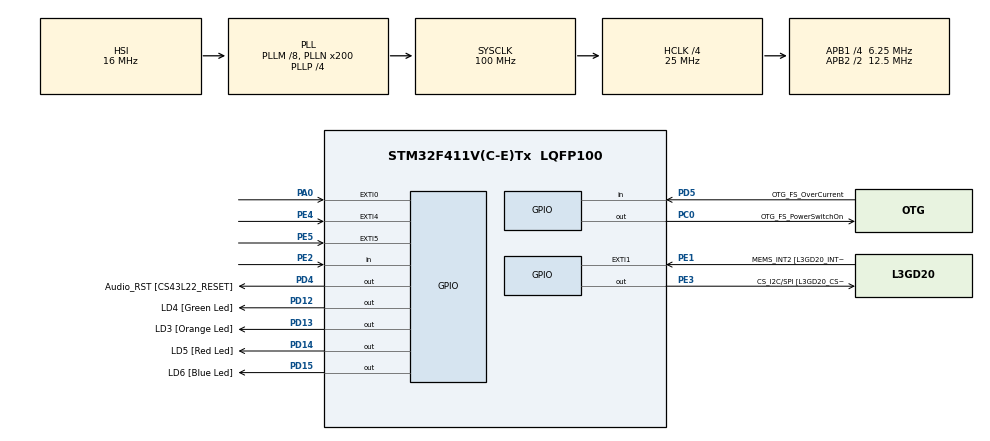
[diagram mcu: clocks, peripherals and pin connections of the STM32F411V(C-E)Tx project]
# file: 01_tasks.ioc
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FREERTOS.Tasks01=defaultTask,0,128,StartDefaultTask,Default,NULL,Dynamic,NULL,NULL
FREERTOS.configENABLE_FPU=1
Mcu.Family=STM32F4
Mcu.Name=STM32F411V(C-E)Tx
Mcu.Package=LQFP100
NVIC.PriorityGroup=NVIC_PRIORITYGROUP_4
NVIC.TIM5_IRQn=true\:15\:0\:false\:false\:true\:false\:false\:true\:true
NVIC.TimeBase=TIM5_IRQn
NVIC.TimeBaseIP=TIM5
PA0-WKUP.GPIO_ModeDefaultEXTI=GPIO_MODE_EVT_RISING
PA0-WKUP.Signal=GPXTI0
PA10.GPIO_Label=OTG_FS_ID
PA10.Signal=USB_OTG_FS_ID
PA11.GPIO_Label=OTG_FS_DM
PA11.Signal=USB_OTG_FS_DM
PA12.GPIO_Label=OTG_FS_DP
PA12.Signal=USB_OTG_FS_DP
PA13.GPIO_Label=SWDIO
PA13.Signal=SYS_JTMS-SWDIO
PA14.GPIO_Label=SWCLK
PA14.Signal=SYS_JTCK-SWCLK
PA4.GPIO_Label=I2S3_WS [CS43L22_LRCK]
PA4.GPIO_Mode=GPIO_MODE_AF_PP
PA4.GPIO_PuPd=GPIO_NOPULL
PA4.GPIO_Speed=GPIO_SPEED_FREQ_LOW
PA4.Signal=I2S3_WS
PA5.GPIO_Label=SPI1_SCK [L3GD20_SC/SPC]
PA5.Signal=SPI1_SCK
PA6.GPIO_Label=SPI1_MISO [L3GD20_AS0/SDO]
PA6.Signal=SPI1_MISO
PA7.GPIO_Label=SPI1_MOSI [L3GD20_SDA/SDI/SDO]
PA7.Signal=SPI1_MOSI
PA9.GPIO_Label=VBUS_FS
PA9.Signal=USB_OTG_FS_VBUS
PB10.GPIO_Label=CLK_IN [MP45DT02_CLK]
PB10.Signal=I2S2_CK
PB12.Signal=I2S2_WS
PB3.GPIO_Label=SWO
PB3.Signal=SYS_JTDO-SWO
PB6.GPIO_Label=Audio_SCL [CS43L22_SCL]
PB6.GPIO_Mode=GPIO_MODE_AF_OD
PB6.GPIO_PuPd=GPIO_NOPULL
PB6.GPIO_Speed=GPIO_SPEED_FREQ_LOW
PB6.Signal=I2C1_SCL
PB9.GPIO_Label=Audio_SDA [CS43L22_SDA]
PB9.GPIO_Mode=GPIO_MODE_AF_OD
PB9.GPIO_PuPd=GPIO_NOPULL
PB9.GPIO_Speed=GPIO_SPEED_FREQ_LOW
PB9.Signal=I2C1_SDA
PC0.GPIO_Label=OTG_FS_PowerSwitchOn
PC0.PinState=GPIO_PIN_SET
PC0.Signal=GPIO_Output
PC10.GPIO_Label=I2S3_SCK [CS43L22_SCLK]
PC10.GPIO_Mode=GPIO_MODE_AF_PP
PC10.GPIO_PuPd=GPIO_NOPULL
PC10.GPIO_Speed=GPIO_SPEED_FREQ_LOW
PC10.Signal=I2S3_CK
PC12.GPIO_Label=I2S3_SD [CS43L22_SDIN]
PC12.GPIO_Mode=GPIO_MODE_AF_PP
PC12.GPIO_PuPd=GPIO_NOPULL
PC12.GPIO_Speed=GPIO_SPEED_FREQ_LOW
PC12.Signal=I2S3_SD
PC14-OSC32_IN.GPIO_Label=PC14-OSC32_IN
PC14-OSC32_IN.Signal=RCC_OSC32_IN
PC15-OSC32_OUT.GPIO_Label=PC15-OSC32_OUT
PC15-OSC32_OUT.Signal=RCC_OSC32_OUT
PC3.GPIO_Label=PDM_OUT [MP45DT02_DOUT]
PC3.Signal=I2S2_SD
PC7.GPIO_Label=I2S3_MCK [CS43L22_MCLK]
PC7.GPIO_Mode=GPIO_MODE_AF_PP
PC7.GPIO_PuPd=GPIO_NOPULL
PC7.GPIO_Speed=GPIO_SPEED_FREQ_LOW
PC7.Signal=I2S3_MCK
PD12.GPIO_Label=LD4 [Green Led]
PD12.GPIO_PuPd=GPIO_NOPULL
PD12.GPIO_Speed=GPIO_SPEED_FREQ_LOW
PD12.Signal=GPIO_Output
PD13.GPIO_Label=LD3 [Orange Led]
PD13.GPIO_PuPd=GPIO_NOPULL
PD13.GPIO_Speed=GPIO_SPEED_FREQ_LOW
PD13.Signal=GPIO_Output
PD14.GPIO_Label=LD5 [Red Led]
PD14.GPIO_PuPd=GPIO_NOPULL
PD14.GPIO_Speed=GPIO_SPEED_FREQ_LOW
PD14.Signal=GPIO_Output
PD15.GPIO_Label=LD6 [Blue Led]
PD15.GPIO_PuPd=GPIO_NOPULL
PD15.GPIO_Speed=GPIO_SPEED_FREQ_LOW
PD15.Signal=GPIO_Output
PD4.GPIO_Label=Audio_RST [CS43L22_RESET]
PD4.Signal=GPIO_Output
PD5.GPIO_Label=OTG_FS_OverCurrent
PD5.Signal=GPIO_Input
PE1.GPIO_Label=MEMS_INT2 [L3GD20_INT2]
PE1.GPIO_ModeDefaultEXTI=GPIO_MODE_EVT_RISING
PE1.Signal=GPXTI1
PE2.Signal=GPIO_Input
PE3.GPIO_Label=CS_I2C/SPI [L3GD20_CS_I2C/SPI]
PE3.Signal=GPIO_Output
PE4.GPIO_ModeDefaultEXTI=GPIO_MODE_EVT_RISING
PE4.Signal=GPXTI4
PE5.GPIO_ModeDefaultEXTI=GPIO_MODE_EVT_RISING
PE5.Signal=GPXTI5
PH0\ -\ OSC_IN.GPIO_Label=PH0-OSC_IN
PH0\ -\ OSC_IN.Signal=RCC_OSC_IN
PH1\ -\ OSC_OUT.GPIO_Label=PH1-OSC_OUT
PH1\ -\ OSC_OUT.Signal=RCC_OSC_OUT
ProjectManager.HeapSize=0x200
ProjectManager.StackSize=0x400
ProjectManager.TargetToolchain=STM32CubeIDE
RCC.48MHZClocksFreq_Value=50000000
RCC.AHBCLKDivider=RCC_SYSCLK_DIV4
RCC.AHBFreq_Value=25000000
RCC.APB1CLKDivider=RCC_HCLK_DIV4
RCC.APB1Freq_Value=6250000
RCC.APB1TimFreq_Value=12500000
RCC.APB2CLKDivider=RCC_HCLK_DIV2
RCC.APB2Freq_Value=12500000
RCC.APB2TimFreq_Value=25000000
RCC.CortexFreq_Value=25000000
RCC.HCLKFreq_Value=25000000
RCC.HSE_VALUE=8000000
RCC.HSI_VALUE=16000000
RCC.LSE_VALUE=32768
RCC.PLLI2SM=5
RCC.PLLI2SN=200
RCC.PLLM=8
RCC.PLLN=200
RCC.PLLP=RCC_PLLP_DIV4
RCC.PLLQ=8
RCC.SYSCLKFreq_VALUE=100000000
RCC.SYSCLKSource=RCC_SYSCLKSOURCE_PLLCLK
RCC.VCOOutputFreq_Value=400000000
VP_FREERTOS_VS_CMSIS_V1.Mode=CMSIS_V1
VP_SYS_VS_tim5.Mode=TIM5
board=STM32F411E-DISCO

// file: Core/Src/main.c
/* USER CODE BEGIN Header */
/**
 ******************************************************************************
 * @file           : main.c
 * @brief          : Main program body
 ******************************************************************************
 * @attention
 *
 * Copyright (c) 2023 STMicroelectronics.
 * All rights reserved.
 *
 * This software is licensed under terms that can be found in the LICENSE file
 * in the root directory of this software component.
 * If no LICENSE file comes with this software, it is provided AS-IS.
 *
 ******************************************************************************
 */
/* USER CODE END Header */
#include "main.h"
#include "cmsis_os.h"

/* USER CODE BEGIN Includes */
#include <stdio.h>
#include "FreeRTOS.h"
#include "task.h"
/* USER CODE END Includes */

osThreadId defaultTaskHandle;

void SystemClock_Config(void);
static void MX_GPIO_Init(void);
void StartDefaultTask(void const *argument);

/* USER CODE BEGIN PFP */
static void task1_handle(void* parameters);
static void task2_handle(void* parameters);
/* USER CODE END PFP */

int main(void) {
	/* USER CODE BEGIN 1 */
	TaskHandle_t task1_handler;
	TaskHandle_t task2_handler;
	BaseType_t status;
	/* USER CODE END 1 */

	/* MCU Configuration--------------------------------------------------------*/

	/* Reset of all peripherals, Initializes the Flash interface and the Systick. */
	HAL_Init();

	/* Configure the system clock */
	SystemClock_Config();

	/* Initialize all configured peripherals */
	MX_GPIO_Init();
	/* USER CODE BEGIN 2 */
	status = xTaskCreate(task1_handle, "task1", 200, "this is task 1", 3,
			&task1_handler);
	configASSERT(status == pdPASS);

	status = xTaskCreate(task2_handle, "task2", 200, "this is task 2", 3,
			&task2_handler);
	configASSERT(status == pdPASS);

	vTaskStartScheduler();
	/* USER CODE END 2 */

	/* Create the thread(s) */
	/* definition and creation of defaultTask */
	osThreadDef(defaultTask, StartDefaultTask, osPriorityNormal, 0, 128);
	defaultTaskHandle = osThreadCreate(osThread(defaultTask), NULL);

	/* Start scheduler */
	osKernelStart();

	/* We should never get here as control is now taken by the scheduler */
	/* Infinite loop */
	while (1) {

	}
}

void SystemClock_Config(void) {
	RCC_OscInitTypeDef RCC_OscInitStruct = { 0 };
	RCC_ClkInitTypeDef RCC_ClkInitStruct = { 0 };

	/** Configure the main internal regulator output voltage
	 */
	__HAL_RCC_PWR_CLK_ENABLE();
	__HAL_PWR_VOLTAGESCALING_CONFIG(PWR_REGULATOR_VOLTAGE_SCALE1);
	/** Initializes the RCC Oscillators according to the specified parameters
	 * in the RCC_OscInitTypeDef structure.
	 */
	RCC_OscInitStruct.OscillatorType = RCC_OSCILLATORTYPE_HSI;
	RCC_OscInitStruct.HSIState = RCC_HSI_ON;
	RCC_OscInitStruct.HSICalibrationValue = RCC_HSICALIBRATION_DEFAULT;
	RCC_OscInitStruct.PLL.PLLState = RCC_PLL_ON;
	RCC_OscInitStruct.PLL.PLLSource = RCC_PLLSOURCE_HSI;
	RCC_OscInitStruct.PLL.PLLM = 8;
	RCC_OscInitStruct.PLL.PLLN = 200;
	RCC_OscInitStruct.PLL.PLLP = RCC_PLLP_DIV4;
	RCC_OscInitStruct.PLL.PLLQ = 8;
	if (HAL_RCC_OscConfig(&RCC_OscInitStruct) != HAL_OK) {
		Error_Handler();
	}
	/** Initializes the CPU, AHB and APB buses clocks
	 */
	RCC_ClkInitStruct.ClockType = RCC_CLOCKTYPE_HCLK | RCC_CLOCKTYPE_SYSCLK
			| RCC_CLOCKTYPE_PCLK1 | RCC_CLOCKTYPE_PCLK2;
	RCC_ClkInitStruct.SYSCLKSource = RCC_SYSCLKSOURCE_PLLCLK;
	RCC_ClkInitStruct.AHBCLKDivider = RCC_SYSCLK_DIV4;
	RCC_ClkInitStruct.APB1CLKDivider = RCC_HCLK_DIV4;
	RCC_ClkInitStruct.APB2CLKDivider = RCC_HCLK_DIV2;

	if (HAL_RCC_ClockConfig(&RCC_ClkInitStruct, FLASH_LATENCY_0) != HAL_OK) {
		Error_Handler();
	}
}

static void MX_GPIO_Init(void) {
	GPIO_InitTypeDef GPIO_InitStruct = { 0 };

	/* GPIO Ports Clock Enable */
	__HAL_RCC_GPIOE_CLK_ENABLE();
	__HAL_RCC_GPIOC_CLK_ENABLE();
	__HAL_RCC_GPIOH_CLK_ENABLE();
	__HAL_RCC_GPIOA_CLK_ENABLE();
	__HAL_RCC_GPIOB_CLK_ENABLE();
	__HAL_RCC_GPIOD_CLK_ENABLE();

	/*Configure GPIO pin Output Level */
	HAL_GPIO_WritePin(CS_I2C_SPI_GPIO_Port, CS_I2C_SPI_Pin, GPIO_PIN_RESET);

	/*Configure GPIO pin Output Level */
	HAL_GPIO_WritePin(OTG_FS_PowerSwitchOn_GPIO_Port, OTG_FS_PowerSwitchOn_Pin,
			GPIO_PIN_SET);

	/*Configure GPIO pin Output Level */
	HAL_GPIO_WritePin(GPIOD,
			LD4_Pin | LD3_Pin | LD5_Pin | LD6_Pin | Audio_RST_Pin,
			GPIO_PIN_RESET);

	/*Configure GPIO pin : PE2 */
	GPIO_InitStruct.Pin = GPIO_PIN_2;
	GPIO_InitStruct.Mode = GPIO_MODE_INPUT;
	GPIO_InitStruct.Pull = GPIO_NOPULL;
	HAL_GPIO_Init(GPIOE, &GPIO_InitStruct);

	/*Configure GPIO pin : CS_I2C_SPI_Pin */
	GPIO_InitStruct.Pin = CS_I2C_SPI_Pin;
	GPIO_InitStruct.Mode = GPIO_MODE_OUTPUT_PP;
	GPIO_InitStruct.Pull = GPIO_NOPULL;
	GPIO_InitStruct.Speed = GPIO_SPEED_FREQ_LOW;
	HAL_GPIO_Init(CS_I2C_SPI_GPIO_Port, &GPIO_InitStruct);

	/*Configure GPIO pins : PE4 PE5 MEMS_INT2_Pin */
	GPIO_InitStruct.Pin = GPIO_PIN_4 | GPIO_PIN_5 | MEMS_INT2_Pin;
	GPIO_InitStruct.Mode = GPIO_MODE_EVT_RISING;
	GPIO_InitStruct.Pull = GPIO_NOPULL;
	HAL_GPIO_Init(GPIOE, &GPIO_InitStruct);

	/*Configure GPIO pin : OTG_FS_PowerSwitchOn_Pin */
	GPIO_InitStruct.Pin = OTG_FS_PowerSwitchOn_Pin;
	GPIO_InitStruct.Mode = GPIO_MODE_OUTPUT_PP;
	GPIO_InitStruct.Pull = GPIO_NOPULL;
	GPIO_InitStruct.Speed = GPIO_SPEED_FREQ_LOW;
	HAL_GPIO_Init(OTG_FS_PowerSwitchOn_GPIO_Port, &GPIO_InitStruct);

	/*Configure GPIO pin : PDM_OUT_Pin */
	GPIO_InitStruct.Pin = PDM_OUT_Pin;
	GPIO_InitStruct.Mode = GPIO_MODE_AF_PP;
	GPIO_InitStruct.Pull = GPIO_NOPULL;
	GPIO_InitStruct.Speed = GPIO_SPEED_FREQ_LOW;
	GPIO_InitStruct.Alternate = GPIO_AF5_SPI2;
	HAL_GPIO_Init(PDM_OUT_GPIO_Port, &GPIO_InitStruct);

	/*Configure GPIO pin : PA0 */
	GPIO_InitStruct.Pin = GPIO_PIN_0;
	GPIO_InitStruct.Mode = GPIO_MODE_EVT_RISING;
	GPIO_InitStruct.Pull = GPIO_NOPULL;
	HAL_GPIO_Init(GPIOA, &GPIO_InitStruct);

	/*Configure GPIO pin : I2S3_WS_Pin */
	GPIO_InitStruct.Pin = I2S3_WS_Pin;
	GPIO_InitStruct.Mode = GPIO_MODE_AF_PP;
	GPIO_InitStruct.Pull = GPIO_NOPULL;
	GPIO_InitStruct.Speed = GPIO_SPEED_FREQ_LOW;
	GPIO_InitStruct.Alternate = GPIO_AF6_SPI3;
	HAL_GPIO_Init(I2S3_WS_GPIO_Port, &GPIO_InitStruct);

	/*Configure GPIO pins : SPI1_SCK_Pin SPI1_MISO_Pin SPI1_MOSI_Pin */
	GPIO_InitStruct.Pin = SPI1_SCK_Pin | SPI1_MISO_Pin | SPI1_MOSI_Pin;
	GPIO_InitStruct.Mode = GPIO_MODE_AF_PP;
	GPIO_InitStruct.Pull = GPIO_NOPULL;
	GPIO_InitStruct.Speed = GPIO_SPEED_FREQ_VERY_HIGH;
	GPIO_InitStruct.Alternate = GPIO_AF5_SPI1;
	HAL_GPIO_Init(GPIOA, &GPIO_InitStruct);

	/*Configure GPIO pins : CLK_IN_Pin PB12 */
	GPIO_InitStruct.Pin = CLK_IN_Pin | GPIO_PIN_12;
	GPIO_InitStruct.Mode = GPIO_MODE_AF_PP;
	GPIO_InitStruct.Pull = GPIO_NOPULL;
	GPIO_InitStruct.Speed = GPIO_SPEED_FREQ_LOW;
	GPIO_InitStruct.Alternate = GPIO_AF5_SPI2;
	HAL_GPIO_Init(GPIOB, &GPIO_InitStruct);

	/*Configure GPIO pins : LD4_Pin LD3_Pin LD5_Pin LD6_Pin
	 Audio_RST_Pin */
	GPIO_InitStruct.Pin = LD4_Pin | LD3_Pin | LD5_Pin | LD6_Pin | Audio_RST_Pin;
	GPIO_InitStruct.Mode = GPIO_MODE_OUTPUT_PP;
	GPIO_InitStruct.Pull = GPIO_NOPULL;
	GPIO_InitStruct.Speed = GPIO_SPEED_FREQ_LOW;
	HAL_GPIO_Init(GPIOD, &GPIO_InitStruct);

	/*Configure GPIO pins : I2S3_MCK_Pin I2S3_SCK_Pin I2S3_SD_Pin */
	GPIO_InitStruct.Pin = I2S3_MCK_Pin | I2S3_SCK_Pin | I2S3_SD_Pin;
	GPIO_InitStruct.Mode = GPIO_MODE_AF_PP;
	GPIO_InitStruct.Pull = GPIO_NOPULL;
	GPIO_InitStruct.Speed = GPIO_SPEED_FREQ_LOW;
	GPIO_InitStruct.Alternate = GPIO_AF6_SPI3;
	HAL_GPIO_Init(GPIOC, &GPIO_InitStruct);

	/*Configure GPIO pin : VBUS_FS_Pin */
	GPIO_InitStruct.Pin = VBUS_FS_Pin;
	GPIO_InitStruct.Mode = GPIO_MODE_INPUT;
	GPIO_InitStruct.Pull = GPIO_NOPULL;
	HAL_GPIO_Init(VBUS_FS_GPIO_Port, &GPIO_InitStruct);

	/*Configure GPIO pins : OTG_FS_ID_Pin OTG_FS_DM_Pin OTG_FS_DP_Pin */
	GPIO_InitStruct.Pin = OTG_FS_ID_Pin | OTG_FS_DM_Pin | OTG_FS_DP_Pin;
	GPIO_InitStruct.Mode = GPIO_MODE_AF_PP;
	GPIO_InitStruct.Pull = GPIO_NOPULL;
	GPIO_InitStruct.Speed = GPIO_SPEED_FREQ_VERY_HIGH;
	GPIO_InitStruct.Alternate = GPIO_AF10_OTG_FS;
	HAL_GPIO_Init(GPIOA, &GPIO_InitStruct);

	/*Configure GPIO pin : OTG_FS_OverCurrent_Pin */
	GPIO_InitStruct.Pin = OTG_FS_OverCurrent_Pin;
	GPIO_InitStruct.Mode = GPIO_MODE_INPUT;
	GPIO_InitStruct.Pull = GPIO_NOPULL;
	HAL_GPIO_Init(OTG_FS_OverCurrent_GPIO_Port, &GPIO_InitStruct);

	/*Configure GPIO pins : Audio_SCL_Pin Audio_SDA_Pin */
	GPIO_InitStruct.Pin = Audio_SCL_Pin | Audio_SDA_Pin;
	GPIO_InitStruct.Mode = GPIO_MODE_AF_OD;
	GPIO_InitStruct.Pull = GPIO_NOPULL;
	GPIO_InitStruct.Speed = GPIO_SPEED_FREQ_LOW;
	GPIO_InitStruct.Alternate = GPIO_AF4_I2C1;
	HAL_GPIO_Init(GPIOB, &GPIO_InitStruct);

}

/* USER CODE BEGIN 4 */
static void task1_handle(void *parameters) {
	while (1) {
		printf("%s\n", (char*) parameters);
		taskYIELD();
	}
}

static void task2_handle(void *parameters) {
	while (1) {
		printf("%s\n", (char*) parameters);
		taskYIELD();

	}
}
/* USER CODE END 4 */

void StartDefaultTask(void const *argument) {
	for (;;) {
		osDelay(1);
	}
}

void HAL_TIM_PeriodElapsedCallback(TIM_HandleTypeDef *htim) {
	if (htim->Instance == TIM5) {
		HAL_IncTick();
	}
}

void Error_Handler(void) {
	__disable_irq();
	while (1) {
	}
}
